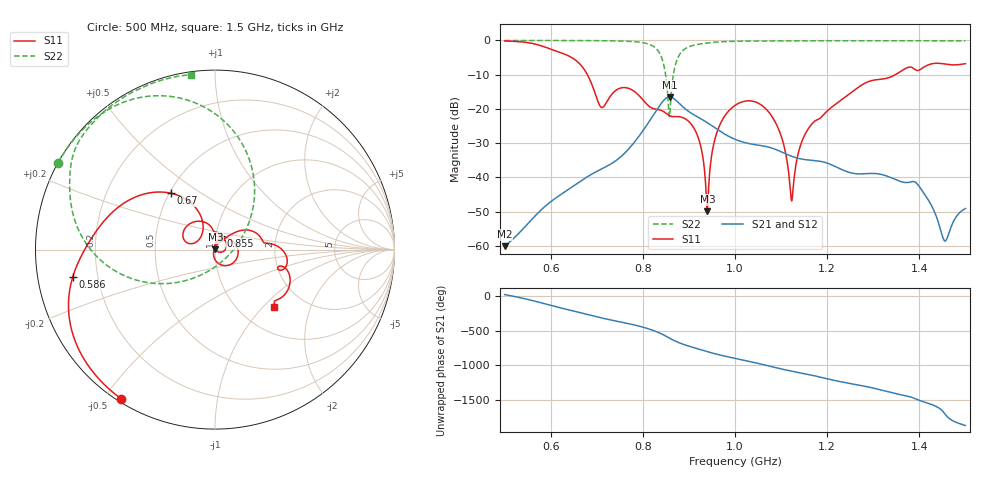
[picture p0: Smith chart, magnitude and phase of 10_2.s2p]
! TOUCHSTONE file generated by CST MICROWAVE STUDIO
! Date and time: Wed Oct 28 19:35:06 2020
! Project name: Scenario_1_Circular_Tissue_out_of_Line_v2.cst
! Parameters = {dy1=-190.3; L_HA=400; MT=2.54; Rad_Dielectric=30; Rad_Lower=7.3; Rad_Upper=30; a_HA=580; a_WG=246; b_HA=500; b_WG=121; c_HA=0; c_WG=187; d_feed=85; dx1=346; h_feed=15; h_lower=18; h_upper=40}
! Header version: 2018
! Port assignment regex: !\s*Touchstone port\s*([0-9]+)\s*=\s*(CST MWS port|CST DS port)\s*([0-9]+|Zmin|Zmax)\s*\(\"(.*)\"\)(\s*mode\s*([0-9]+))?.*
! Touchstone port assignment:
! Touchstone port 1 = CST MWS port 1 ("")
! Touchstone port 2 = CST MWS port 2 ("")
# GHz S DB R 50
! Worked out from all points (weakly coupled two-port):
!   1003 points, 500 MHz to 1.5 GHz, reference 50 ohm
!   highest |S21| = -16.50 dB at 858 MHz (marker M1); lowest = -60.1 dB at 500 MHz (marker M2)
!   lowest |S11| = -49.9 dB at 940 MHz (marker M3), VSWR 1.01, Z = 50.3 + j0.196 ohm
!   |S11| at or under -10 dB: 679.6 MHz to 1.348 GHz (668.5 MHz wide, 65.9 % of centre)
!   |S22| runs from -22.3 to 0.0 dB; largest |S21 - S12| = 2.6e-06
!   S11 on the Smith chart (normalised r, x): 500 MHz: 0.01, -0.55; 586 MHz: 0.11, -0.09; 670 MHz: 0.51, +0.38; 855 MHz: 1.05, +0.16; 1.5 GHz: 1.43, -1.15
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0.5  -0.16 -122.2  -60.09 16.3  -60.09 16.3  -0.01 151.1
0.586  -1.86 -169.1  -48.67 -113.5  -48.67 -113.5  -0.02 145.2
0.667  -7.45 131.2  -40.89 111.5  -40.89 111.5  -0.04 138.4
0.67  -7.96 128.2  -40.63 106.6  -40.63 106.6  -0.04 138.1
0.71  -19.55 140.3  -37.59 41.7  -37.59 41.7  -0.08 133.6
0.761  -13.78 141.5  -32.86 -29.2  -32.86 -29.2  -0.21 125.2
0.834  -20.22 87.2  -19.53 -167.6  -19.53 -167.6  -3.21 83.4
0.855  -21.74 67.5  -16.56 122.7  -16.56 122.7  -18.04 11.4
0.858  -21.98 65.6  -16.50 111.6  -16.50 111.6  -22.26 -60.0
0.877  -22.26 48.5  -18.13 50.2  -18.13 50.2  -4.78 -168.7
0.914  -26.39 -12.1  -21.97 -31.1  -21.97 -31.1  -1.30 159.7
0.94  -49.91 37.6  -24.04 -81.9  -24.04 -81.9  -0.75 151.6
0.961  -26.76 77.6  -25.94 -119.3  -25.94 -119.3  -0.48 147.0
1  -18.98 22.9  -28.87 -178.2  -28.87 -178.2  -0.25 140.3
1.08  -22.18 -77.0  -31.44 62.3  -31.44 62.3  -0.15 131.5
1.123  -46.88 158.9  -33.84 -1.5  -33.84 -1.5  -0.11 127.8
1.141  -31.13 69.7  -34.55 -24.7  -34.55 -24.7  -0.10 126.3
1.167  -24.37 52.4  -35.01 -59.8  -35.01 -59.8  -0.10 124.2
1.334  -10.86 7.3  -39.84 60.6  -39.84 60.6  -0.08 111.5
1.396  -8.78 -16.2  -42.00 -49.2  -42.00 -49.2  -0.09 106.6
1.455  -6.88 -36.9  -58.55 111.4  -58.55 111.4  -0.11 101.8
1.5  -6.79 -44.1  -49.11 -59.2  -49.11 -59.2  -0.14 97.9
